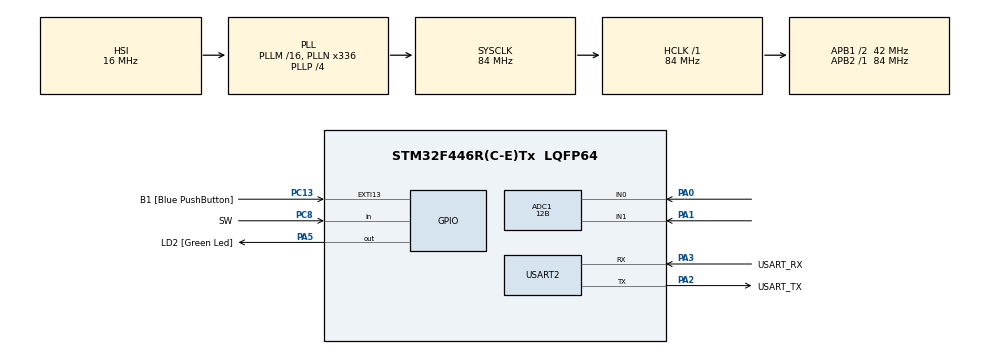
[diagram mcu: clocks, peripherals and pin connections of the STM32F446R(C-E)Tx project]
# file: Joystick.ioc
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ADC1.Channel-1\#ChannelRegularConversion=ADC_CHANNEL_0
ADC1.Channel-2\#ChannelRegularConversion=ADC_CHANNEL_1
ADC1.ContinuousConvMode=ENABLE
ADC1.NbrOfConversion=2
ADC1.NbrOfConversionFlag=1
ADC1.Rank-1\#ChannelRegularConversion=1
ADC1.Rank-2\#ChannelRegularConversion=2
ADC1.Resolution=ADC_RESOLUTION_12B
ADC1.SamplingTime-1\#ChannelRegularConversion=ADC_SAMPLETIME_15CYCLES
ADC1.SamplingTime-2\#ChannelRegularConversion=ADC_SAMPLETIME_15CYCLES
ADC1.master=1
Dma.ADC1.0.Direction=DMA_PERIPH_TO_MEMORY
Dma.ADC1.0.FIFOMode=DMA_FIFOMODE_DISABLE
Dma.ADC1.0.Instance=DMA2_Stream0
Dma.ADC1.0.MemDataAlignment=DMA_MDATAALIGN_HALFWORD
Dma.ADC1.0.MemInc=DMA_MINC_ENABLE
Dma.ADC1.0.Mode=DMA_CIRCULAR
Dma.ADC1.0.PeriphDataAlignment=DMA_PDATAALIGN_HALFWORD
Dma.ADC1.0.PeriphInc=DMA_PINC_DISABLE
Dma.ADC1.0.Priority=DMA_PRIORITY_LOW
Dma.Request0=ADC1
Mcu.Family=STM32F4
Mcu.Name=STM32F446R(C-E)Tx
Mcu.Package=LQFP64
NVIC.DMA2_Stream0_IRQn=true\:0\:0\:false\:false\:true\:false\:true\:true
NVIC.PriorityGroup=NVIC_PRIORITYGROUP_0
PA0-WKUP.Signal=ADCx_IN0
PA1.Signal=ADCx_IN1
PA13.GPIO_Label=TMS
PA13.Mode=Serial_Wire
PA13.Signal=SYS_JTMS-SWDIO
PA14.GPIO_Label=TCK
PA14.Mode=Serial_Wire
PA14.Signal=SYS_JTCK-SWCLK
PA2.GPIO_Label=USART_TX
PA2.Mode=Asynchronous
PA2.Signal=USART2_TX
PA3.GPIO_Label=USART_RX
PA3.Mode=Asynchronous
PA3.Signal=USART2_RX
PA5.GPIO_Label=LD2 [Green Led]
PA5.Signal=GPIO_Output
PB3.GPIO_Label=SWO
PB3.Signal=SYS_JTDO-SWO
PC13.GPIO_Label=B1 [Blue PushButton]
PC13.GPIO_ModeDefaultEXTI=GPIO_MODE_IT_FALLING
PC13.Signal=GPXTI13
PC14-OSC32_IN.Mode=LSE-External-Oscillator
PC14-OSC32_IN.Signal=RCC_OSC32_IN
PC15-OSC32_OUT.Mode=LSE-External-Oscillator
PC15-OSC32_OUT.Signal=RCC_OSC32_OUT
PC8.GPIO_Label=SW
PC8.Signal=GPIO_Input
PH0-OSC_IN.Mode=HSE-External-Oscillator
PH0-OSC_IN.Signal=RCC_OSC_IN
PH1-OSC_OUT.Mode=HSE-External-Oscillator
PH1-OSC_OUT.Signal=RCC_OSC_OUT
ProjectManager.HeapSize=0x200
ProjectManager.StackSize=0x400
ProjectManager.TargetToolchain=STM32CubeIDE
RCC.48MHZClocksFreq_Value=84000000
RCC.AHBFreq_Value=84000000
RCC.APB1CLKDivider=RCC_HCLK_DIV2
RCC.APB1Freq_Value=42000000
RCC.APB1TimFreq_Value=84000000
RCC.APB2Freq_Value=84000000
RCC.APB2TimFreq_Value=84000000
RCC.CortexFreq_Value=84000000
RCC.FLatency-AdvancedSettings=FLASH_LATENCY_2
RCC.HCLKFreq_Value=84000000
RCC.HSE_VALUE=8000000
RCC.HSI_VALUE=16000000
RCC.PLLN=336
RCC.PLLP=RCC_PLLP_DIV4
RCC.SYSCLKFreq_VALUE=84000000
RCC.SYSCLKSource=RCC_SYSCLKSOURCE_PLLCLK
RCC.USBFreq_Value=168000000
RCC.VCOOutputFreq_Value=336000000
SH.ADCx_IN0.0=ADC1_IN0,IN0
SH.ADCx_IN1.0=ADC1_IN1,IN1
USART2.VirtualMode=VM_ASYNC
board=NUCLEO-F446RE

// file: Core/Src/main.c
/* USER CODE BEGIN Header */
/**
 ******************************************************************************
 * @file           : main.c
 * @brief          : Main program body
 ******************************************************************************
 * @attention
 *
 * Copyright (c) 2025 STMicroelectronics.
 * All rights reserved.
 *
 * This software is licensed under terms that can be found in the LICENSE file
 * in the root directory of this software component.
 * If no LICENSE file comes with this software, it is provided AS-IS.
 *
 ******************************************************************************
 */
/* USER CODE END Header */
#include "main.h"

/* USER CODE BEGIN Includes */
#include <string.h>
#include <stdlib.h>
#include <stdio.h>
/* USER CODE END Includes */

ADC_HandleTypeDef hadc1;
DMA_HandleTypeDef hdma_adc1;

UART_HandleTypeDef huart2;

/* USER CODE BEGIN PV */
uint16_t vr[2]={0,0};
int16_t vrX=0;
int16_t vrY=0;

char msg[50];
/* USER CODE END PV */

void SystemClock_Config(void);
static void MX_GPIO_Init(void);
static void MX_DMA_Init(void);
static void MX_USART2_UART_Init(void);
static void MX_ADC1_Init(void);

int main(void)
{

  /* MCU Configuration--------------------------------------------------------*/

  /* Reset of all peripherals, Initializes the Flash interface and the Systick. */
  HAL_Init();

  /* Configure the system clock */
  SystemClock_Config();

  /* Initialize all configured peripherals */
  MX_GPIO_Init();
  MX_DMA_Init();
  MX_USART2_UART_Init();
  MX_ADC1_Init();

  /* Infinite loop */
  /* USER CODE BEGIN WHILE */
    HAL_UART_Transmit(&huart2, (const uint8_t *)"\n", 2, 100);

	while (1) {
		HAL_ADC_Start_DMA(&hadc1, (uint32_t*)vr, 2);

    /* USER CODE END WHILE */

    /* USER CODE BEGIN 3 */

		vrX = (int16_t)vr[0]-2048;
		vrY = (int16_t)vr[1]-2048;
		float x = (float)vrX/(float)2048;
		float y = (float)vrY/(float)2048;

		if(vr[0] && vr[1] ){
			int length = sprintf(msg, "X:%.2f,Y:%.2f\n", x,y);
			HAL_UART_Transmit(&huart2, (const uint8_t *)msg, length, 100);

		}

		HAL_Delay(10);

	}
  /* USER CODE END 3 */
}

void SystemClock_Config(void)
{
  RCC_OscInitTypeDef RCC_OscInitStruct = {0};
  RCC_ClkInitTypeDef RCC_ClkInitStruct = {0};

  /** Configure the main internal regulator output voltage
  */
  __HAL_RCC_PWR_CLK_ENABLE();
  __HAL_PWR_VOLTAGESCALING_CONFIG(PWR_REGULATOR_VOLTAGE_SCALE3);

  /** Initializes the RCC Oscillators according to the specified parameters
  * in the RCC_OscInitTypeDef structure.
  */
  RCC_OscInitStruct.OscillatorType = RCC_OSCILLATORTYPE_HSI;
  RCC_OscInitStruct.HSIState = RCC_HSI_ON;
  RCC_OscInitStruct.HSICalibrationValue = RCC_HSICALIBRATION_DEFAULT;
  RCC_OscInitStruct.PLL.PLLState = RCC_PLL_ON;
  RCC_OscInitStruct.PLL.PLLSource = RCC_PLLSOURCE_HSI;
  RCC_OscInitStruct.PLL.PLLM = 16;
  RCC_OscInitStruct.PLL.PLLN = 336;
  RCC_OscInitStruct.PLL.PLLP = RCC_PLLP_DIV4;
  RCC_OscInitStruct.PLL.PLLQ = 2;
  RCC_OscInitStruct.PLL.PLLR = 2;
  if (HAL_RCC_OscConfig(&RCC_OscInitStruct) != HAL_OK)
  {
    Error_Handler();
  }

  /** Initializes the CPU, AHB and APB buses clocks
  */
  RCC_ClkInitStruct.ClockType = RCC_CLOCKTYPE_HCLK|RCC_CLOCKTYPE_SYSCLK
                              |RCC_CLOCKTYPE_PCLK1|RCC_CLOCKTYPE_PCLK2;
  RCC_ClkInitStruct.SYSCLKSource = RCC_SYSCLKSOURCE_PLLCLK;
  RCC_ClkInitStruct.AHBCLKDivider = RCC_SYSCLK_DIV1;
  RCC_ClkInitStruct.APB1CLKDivider = RCC_HCLK_DIV2;
  RCC_ClkInitStruct.APB2CLKDivider = RCC_HCLK_DIV1;

  if (HAL_RCC_ClockConfig(&RCC_ClkInitStruct, FLASH_LATENCY_2) != HAL_OK)
  {
    Error_Handler();
  }
}

static void MX_ADC1_Init(void)
{

  ADC_ChannelConfTypeDef sConfig = {0};

  /** Configure the global features of the ADC (Clock, Resolution, Data Alignment and number of conversion)
  */
  hadc1.Instance = ADC1;
  hadc1.Init.ClockPrescaler = ADC_CLOCK_SYNC_PCLK_DIV4;
  hadc1.Init.Resolution = ADC_RESOLUTION_12B;
  hadc1.Init.ScanConvMode = ENABLE;
  hadc1.Init.ContinuousConvMode = ENABLE;
  hadc1.Init.DiscontinuousConvMode = DISABLE;
  hadc1.Init.ExternalTrigConvEdge = ADC_EXTERNALTRIGCONVEDGE_NONE;
  hadc1.Init.ExternalTrigConv = ADC_SOFTWARE_START;
  hadc1.Init.DataAlign = ADC_DATAALIGN_RIGHT;
  hadc1.Init.NbrOfConversion = 2;
  hadc1.Init.DMAContinuousRequests = DISABLE;
  hadc1.Init.EOCSelection = ADC_EOC_SINGLE_CONV;
  if (HAL_ADC_Init(&hadc1) != HAL_OK)
  {
    Error_Handler();
  }

  /** Configure for the selected ADC regular channel its corresponding rank in the sequencer and its sample time.
  */
  sConfig.Channel = ADC_CHANNEL_0;
  sConfig.Rank = 1;
  sConfig.SamplingTime = ADC_SAMPLETIME_15CYCLES;
  if (HAL_ADC_ConfigChannel(&hadc1, &sConfig) != HAL_OK)
  {
    Error_Handler();
  }

  /** Configure for the selected ADC regular channel its corresponding rank in the sequencer and its sample time.
  */
  sConfig.Channel = ADC_CHANNEL_1;
  sConfig.Rank = 2;
  if (HAL_ADC_ConfigChannel(&hadc1, &sConfig) != HAL_OK)
  {
    Error_Handler();
  }

}

static void MX_USART2_UART_Init(void)
{

  huart2.Instance = USART2;
  huart2.Init.BaudRate = 115200;
  huart2.Init.WordLength = UART_WORDLENGTH_8B;
  huart2.Init.StopBits = UART_STOPBITS_1;
  huart2.Init.Parity = UART_PARITY_NONE;
  huart2.Init.Mode = UART_MODE_TX_RX;
  huart2.Init.HwFlowCtl = UART_HWCONTROL_NONE;
  huart2.Init.OverSampling = UART_OVERSAMPLING_16;
  if (HAL_UART_Init(&huart2) != HAL_OK)
  {
    Error_Handler();
  }

}

static void MX_DMA_Init(void)
{

  /* DMA controller clock enable */
  __HAL_RCC_DMA2_CLK_ENABLE();

  /* DMA interrupt init */
  /* DMA2_Stream0_IRQn interrupt configuration */
  HAL_NVIC_SetPriority(DMA2_Stream0_IRQn, 0, 0);
  HAL_NVIC_EnableIRQ(DMA2_Stream0_IRQn);

}

static void MX_GPIO_Init(void)
{
  GPIO_InitTypeDef GPIO_InitStruct = {0};

  /* GPIO Ports Clock Enable */
  __HAL_RCC_GPIOC_CLK_ENABLE();
  __HAL_RCC_GPIOH_CLK_ENABLE();
  __HAL_RCC_GPIOA_CLK_ENABLE();
  __HAL_RCC_GPIOB_CLK_ENABLE();

  /*Configure GPIO pin Output Level */
  HAL_GPIO_WritePin(LD2_GPIO_Port, LD2_Pin, GPIO_PIN_RESET);

  /*Configure GPIO pin : B1_Pin */
  GPIO_InitStruct.Pin = B1_Pin;
  GPIO_InitStruct.Mode = GPIO_MODE_IT_FALLING;
  GPIO_InitStruct.Pull = GPIO_NOPULL;
  HAL_GPIO_Init(B1_GPIO_Port, &GPIO_InitStruct);

  /*Configure GPIO pin : LD2_Pin */
  GPIO_InitStruct.Pin = LD2_Pin;
  GPIO_InitStruct.Mode = GPIO_MODE_OUTPUT_PP;
  GPIO_InitStruct.Pull = GPIO_NOPULL;
  GPIO_InitStruct.Speed = GPIO_SPEED_FREQ_LOW;
  HAL_GPIO_Init(LD2_GPIO_Port, &GPIO_InitStruct);

  /*Configure GPIO pin : SW_Pin */
  GPIO_InitStruct.Pin = SW_Pin;
  GPIO_InitStruct.Mode = GPIO_MODE_INPUT;
  GPIO_InitStruct.Pull = GPIO_NOPULL;
  HAL_GPIO_Init(SW_GPIO_Port, &GPIO_InitStruct);

}

void Error_Handler(void)
{
	__disable_irq();
	while (1) {
	}
}
